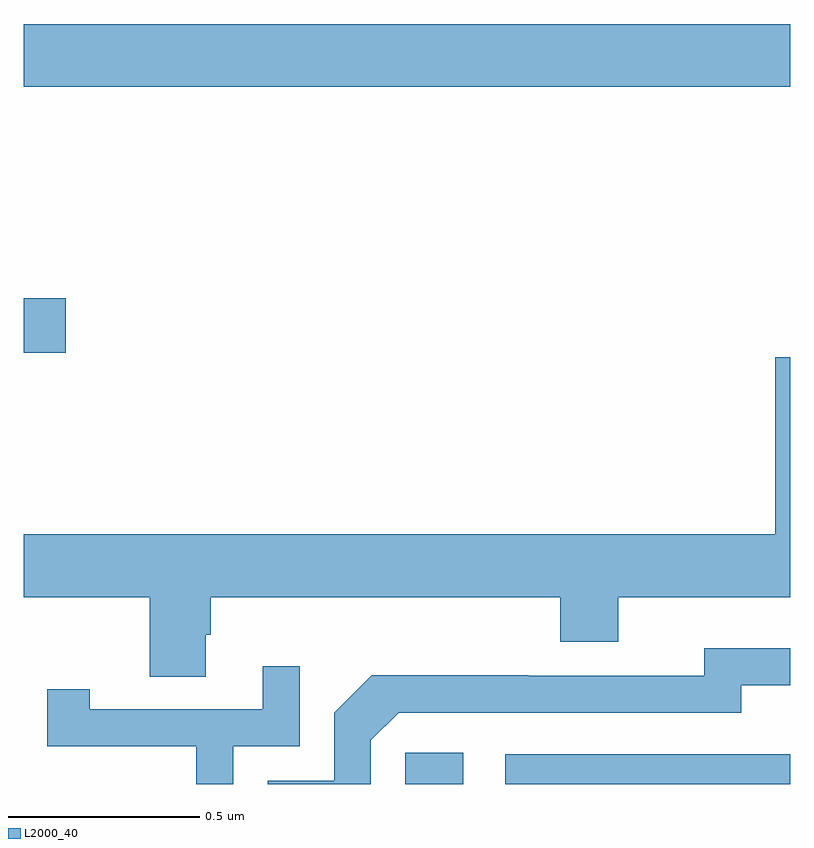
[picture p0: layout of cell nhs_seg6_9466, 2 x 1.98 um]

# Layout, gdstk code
import gdstk
lib = gdstk.Library(unit=1e-6, precision=1e-09)
def R(c, l, rs):  # rectangles x0, y0, x1, y1
    for r in rs: c.add(gdstk.rectangle(r[:2], r[2:], *l))
def P(c, l, *ps):  # polygons
    for p in ps: c.add(gdstk.Polygon(p, *l))
L2000_40 = (2000, 40)

nhs_seg6_9466 = lib.new_cell('nhs_seg6_9466')
R(nhs_seg6_9466, L2000_40, [(234.996,961.5,235.147,961.582), (235.257,961.5,236,961.578), (234,962.626,234.109,962.768), (234,963.32,236,963.484)])
P(nhs_seg6_9466, L2000_40, [(234.475,961.89),(234.488,961.89),(234.488,961.988),(235.4,961.988),(235.4,961.871),(235.552,961.871),(235.552,961.988),(236,961.988),(236,962.614),(235.961,962.614),(235.961,962.152),(234,962.152),(234,961.988),(234.328,961.988),(234.328,961.78),(234.475,961.78)],
  [(234.906,961.614),(234.978,961.686),(235.872,961.686),(235.872,961.758),(236,961.758),(236,961.855),(235.776,961.855),(235.776,961.782),(235.316,961.782),(235.316,961.784),(234.908,961.784),(234.81,961.686),(234.81,961.509),(234.636,961.509),(234.636,961.5),(234.906,961.5)],
  [(234.546,961.599),(234.72,961.599),(234.72,961.807),(234.623,961.807),(234.623,961.695),(234.172,961.695),(234.172,961.747),(234.061,961.747),(234.061,961.599),(234.45,961.599),(234.45,961.5),(234.546,961.5)])

lib.write_gds('nhs_seg6_9466.gds')
